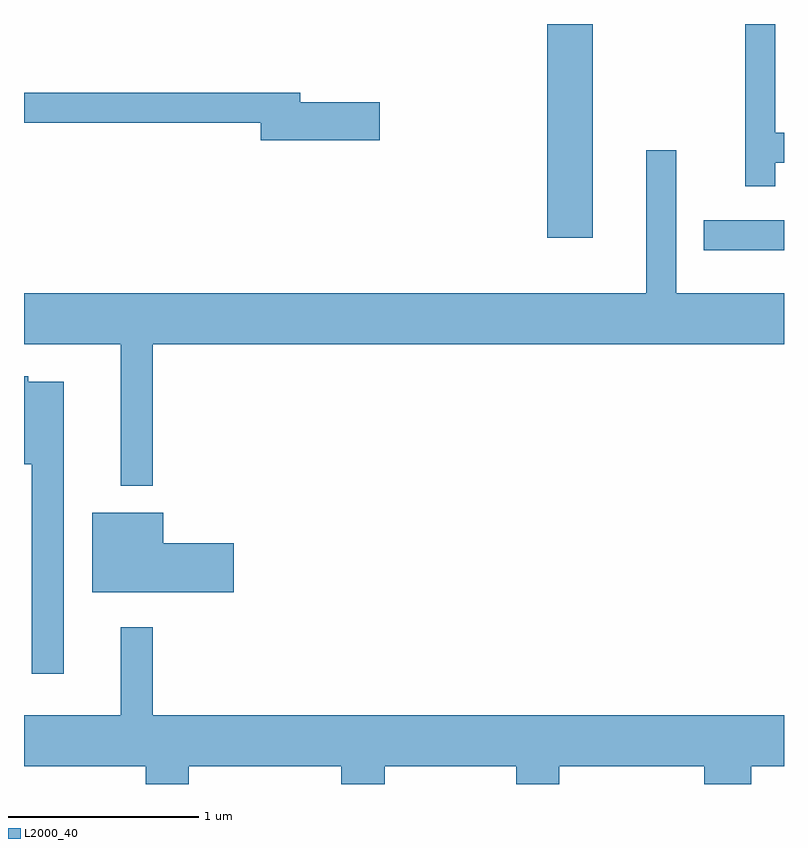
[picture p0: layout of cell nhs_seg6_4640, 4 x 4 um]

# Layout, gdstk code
import gdstk
lib = gdstk.Library(unit=1e-6, precision=1e-09)
def R(c, l, rs):  # rectangles x0, y0, x1, y1
    for r in rs: c.add(gdstk.rectangle(r[:2], r[2:], *l))
def P(c, l, *ps):  # polygons
    for p in ps: c.add(gdstk.Polygon(p, *l))
L2000_40 = (2000, 40)

nhs_seg6_4640 = lib.new_cell('nhs_seg6_4640')
R(nhs_seg6_4640, L2000_40, [(331.188,1554.971,331.611,1555.129), (330.366,1555.036,330.604,1556.162)])
P(nhs_seg6_4640, L2000_40, [(331.564,1555.431),(331.611,1555.431),(331.611,1555.589),(331.564,1555.589),(331.564,1556.162),(331.406,1556.162),(331.406,1555.308),(331.564,1555.308)],
  [(329.484,1555.749),(329.064,1555.749),(329.064,1555.799),(327.611,1555.799),(327.611,1555.641),(328.856,1555.641),(328.856,1555.551),(329.484,1555.551)],
  [(328.289,1554.476),(331.611,1554.476),(331.611,1554.744),(331.044,1554.744),(331.044,1555.498),(330.886,1555.498),(330.886,1554.744),(327.611,1554.744),(327.611,1554.476),(328.121,1554.476),(328.121,1553.733),(328.289,1553.733)],
  [(327.819,1554.279),(327.634,1554.279),(327.634,1554.309),(327.611,1554.309),(327.611,1553.846),(327.651,1553.846),(327.651,1552.743),(327.819,1552.743)],
  [(328.714,1553.429),(328.344,1553.429),(328.344,1553.589),(327.971,1553.589),(327.971,1553.171),(328.714,1553.171)],
  [(328.479,1552.256),(329.281,1552.256),(329.281,1552.162),(329.509,1552.162),(329.509,1552.256),(330.201,1552.256),(330.201,1552.162),(330.429,1552.162),(330.429,1552.256),(331.191,1552.256),(331.191,1552.162),(331.439,1552.162),(331.439,1552.256),(331.611,1552.256),(331.611,1552.524),(328.289,1552.524),(328.289,1552.988),(328.121,1552.988),(328.121,1552.524),(327.611,1552.524),(327.611,1552.256),(328.251,1552.256),(328.251,1552.162),(328.479,1552.162)])

lib.write_gds('nhs_seg6_4640.gds')
